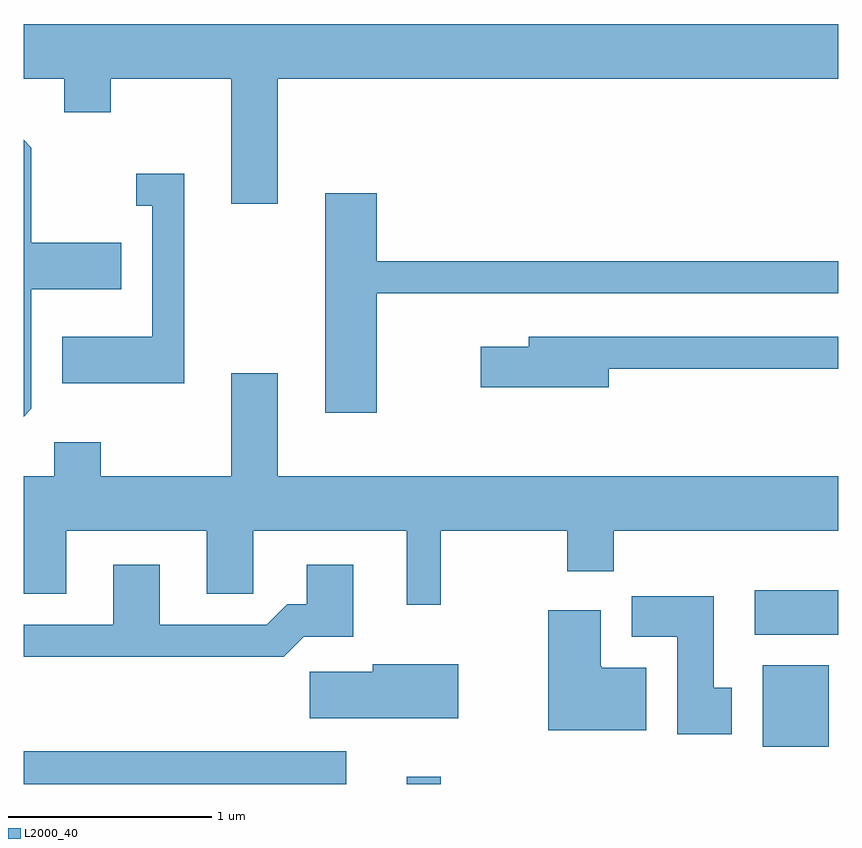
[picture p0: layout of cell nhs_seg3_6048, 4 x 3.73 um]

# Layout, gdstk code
import gdstk
lib = gdstk.Library(unit=1e-6, precision=1e-09)
def R(c, l, rs):  # rectangles x0, y0, x1, y1
    for r in rs: c.add(gdstk.rectangle(r[:2], r[2:], *l))
def P(c, l, *ps):  # polygons
    for p in ps: c.add(gdstk.Polygon(p, *l))
L2000_40 = (2000, 40)

nhs_seg3_6048 = lib.new_cell('nhs_seg3_6048')
R(nhs_seg3_6048, L2000_40, [(363.611,1115.892,365.194,1116.054), (365.491,1115.892,365.659,1115.928), (367.241,1116.076,367.564,1116.474), (367.201,1116.626,367.611,1116.844)])
P(nhs_seg3_6048, L2000_40, [(364.859,1119.356),(367.611,1119.356),(367.611,1119.624),(363.611,1119.624),(363.611,1119.356),(363.811,1119.356),(363.811,1119.191),(364.039,1119.191),(364.039,1119.356),(364.631,1119.356),(364.631,1118.741),(364.859,1118.741)],
  [(363.649,1117.734),(363.649,1118.321),(364.089,1118.321),(364.089,1118.549),(363.649,1118.549),(363.649,1119.017),(363.611,1119.055),(363.611,1117.696)],
  [(364.399,1118.889),(364.163,1118.889),(364.163,1118.731),(364.241,1118.731),(364.241,1118.089),(363.801,1118.089),(363.801,1117.861),(364.399,1117.861)],
  [(365.344,1118.301),(367.611,1118.301),(367.611,1118.459),(365.344,1118.459),(365.344,1118.794),(365.091,1118.794),(365.091,1117.716),(365.344,1117.716)],
  [(366.484,1117.931),(367.611,1117.931),(367.611,1118.089),(366.091,1118.089),(366.091,1118.039),(365.856,1118.039),(365.856,1117.841),(366.484,1117.841)],
  [(364.859,1117.909),(364.631,1117.909),(364.631,1117.404),(363.989,1117.404),(363.989,1117.569),(363.761,1117.569),(363.761,1117.404),(363.611,1117.404),(363.611,1116.826),(363.819,1116.826),(363.819,1117.136),(364.511,1117.136),(364.511,1116.826),(364.739,1116.826),(364.739,1117.136),(365.491,1117.136),(365.491,1116.773),(365.659,1116.773),(365.659,1117.136),(366.281,1117.136),(366.281,1116.936),(366.509,1116.936),(366.509,1117.136),(367.611,1117.136),(367.611,1117.404),(364.859,1117.404)],
  [(364.987,1116.616),(365.229,1116.616),(365.229,1116.969),(365.001,1116.969),(365.001,1116.774),(364.904,1116.774),(364.804,1116.674),(364.279,1116.674),(364.279,1116.969),(364.051,1116.969),(364.051,1116.674),(363.611,1116.674),(363.611,1116.516),(364.887,1116.516)],
  [(367.089,1116.364),(366.999,1116.364),(366.999,1116.814),(366.596,1116.814),(366.596,1116.616),(366.821,1116.616),(366.821,1116.136),(367.089,1116.136)],
  [(366.669,1116.464),(366.45,1116.464),(366.45,1116.47),(366.444,1116.47),(366.444,1116.744),(366.186,1116.744),(366.186,1116.156),(366.669,1116.156)],
  [(365.744,1116.479),(365.326,1116.479),(365.326,1116.444),(365.016,1116.444),(365.016,1116.216),(365.744,1116.216)])

lib.write_gds('nhs_seg3_6048.gds')
